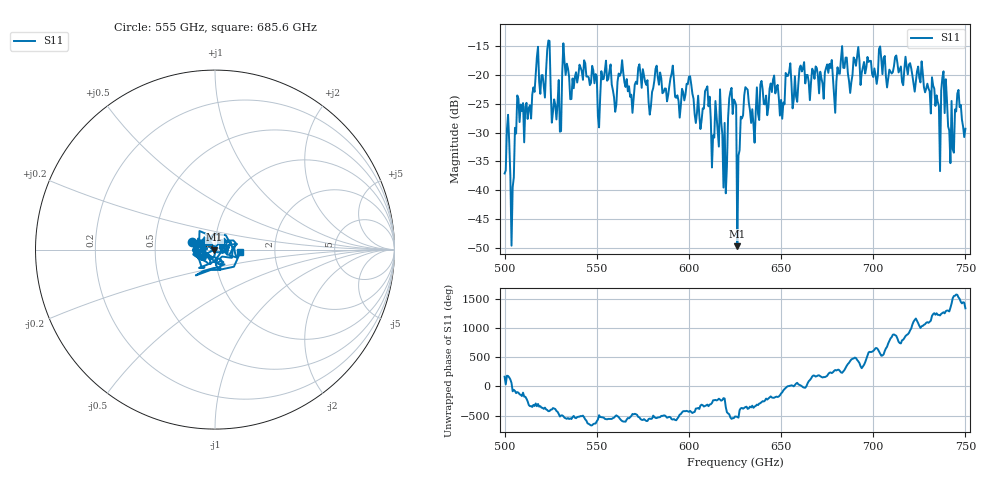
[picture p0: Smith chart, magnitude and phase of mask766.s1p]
!Created with skrf (http://scikit-rf.org).
# GHz S MA R 50.0
!freq magS11 angS11
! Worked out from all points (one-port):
!   401 points, 500 GHz to 750 GHz, reference 50 ohm
!   lowest |S11| = -49.8 dB at 626.2 GHz (marker M1), VSWR 1.01, Z = 49.7 - j0.112 ohm
!   |S11| at or under -10 dB: start of sweep to end of sweep
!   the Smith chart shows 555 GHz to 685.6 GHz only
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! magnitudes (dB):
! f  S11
! 500 GHz  -37.1
! 501.9 GHz  -26.9
! 504.4 GHz  -39.5
! 506.9 GHz  -23.5
! 513.8 GHz  -25.2
! 516.9 GHz  -19.8
! 523.8 GHz  -14.0
! 526.9 GHz  -24.2
! 531.2 GHz  -19.7
! 533.1 GHz  -20.0
! 550.6 GHz  -27.1
! 562.5 GHz  -20.1
! 593.8 GHz  -23.5
! 610 GHz  -22.0
! 619.4 GHz  -28.3
! 623.1 GHz  -22.2
! 625 GHz  -24.6
! 626.2 GHz  -49.8
! 631.2 GHz  -22.3
! 635 GHz  -28.5
! 656.2 GHz  -25.8
! 687.5 GHz  -23.1
! 718.8 GHz  -19.9
! 735 GHz  -24.7
! 738.1 GHz  -19.3
! 742.5 GHz  -24.5
! 746.2 GHz  -22.6
! 750 GHz  -29.3
